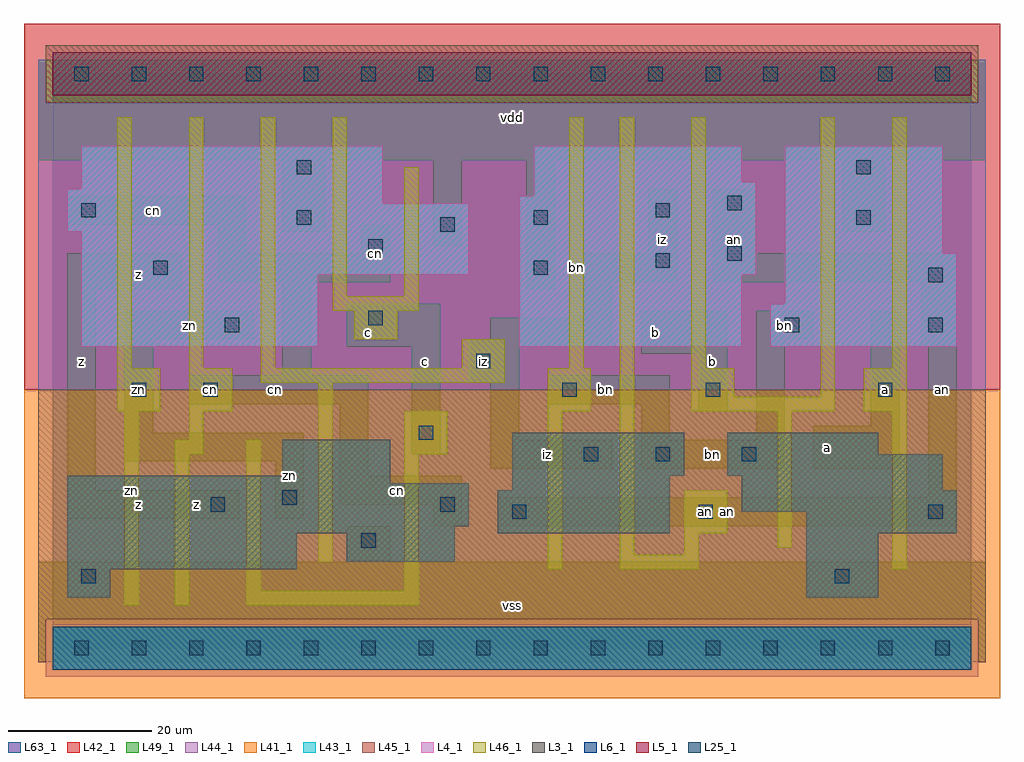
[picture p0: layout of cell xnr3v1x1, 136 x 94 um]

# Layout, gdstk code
import gdstk
lib = gdstk.Library(unit=1e-6, precision=1e-09)
def R(c, l, rs):  # rectangles x0, y0, x1, y1
    for r in rs: c.add(gdstk.rectangle(r[:2], r[2:], *l))
def A(c, l, x, y, w, h, nx, ny, dx, dy):  # array of equal rectangles
    R(c, l, [(x+i*dx, y+j*dy, x+i*dx+w, y+j*dy+h) for i in range(nx) for j in range(ny)])
L3_1 = (3, 1)
L4_1 = (4, 1)
L5_1 = (5, 1)
L6_1 = (6, 1)
L25_1 = (25, 1)
L41_1 = (41, 1)
L42_1 = (42, 1)
L43_1 = (43, 1)
L44_1 = (44, 1)
L45_1 = (45, 1)
L46_1 = (46, 1)
L49_1 = (49, 1)
L63_1 = (63, 1)

xnr3v1x1 = lib.new_cell('xnr3v1x1')
R(xnr3v1x1, L3_1, [(2,7,8,11), (105,7,115,16), (2,11,34,16), (41,12,56,16), (2,16,56,17), (62,16,86,22), (105,16,126,19), (2,17,58,23), (96,19,126,22), (64,22,86,24), (96,22,124,24), (2,23,47,24), (32,24,47,29), (64,24,88,30), (94,24,124,27), (94,27,115,30)])
R(xnr3v1x1, L4_1, [(4,42,37,52), (65,42,96,52), (100,42,126,48), (102,48,126,55), (4,52,58,58), (65,52,98,63), (102,55,124,70), (2,58,58,62), (2,62,46,64), (67,63,98,65), (4,64,46,70), (67,65,96,70)])
R(xnr3v1x1, L5_1, [(0,77,128,83)])
R(xnr3v1x1, L6_1, [(0,-3,128,3), (0,-3,128,3)])
A(xnr3v1x1, L25_1, 3, -1, 2, 2, 16, 2, 8, 80)
R(xnr3v1x1, L25_1, [(4,9,6,11), (109,9,111,11), (43,14,45,16), (64,18,66,20), (90,18,92,20), (122,18,124,20), (22,19,24,21), (54,19,56,21), (32,20,34,22), (74,26,76,28), (84,26,86,28), (96,26,98,28), (51,29,53,31), (11,35,13,37), (21,35,23,37), (71,35,73,37), (91,35,93,37), (115,35,117,37), (59,39,61,41), (24,44,26,46), (102,44,104,46), (122,44,124,46), (44,45,46,47), (122,51,124,53), (14,52,16,54), (67,52,69,54), (84,53,86,55), (94,54,96,56), (44,55,46,57), (54,58,56,60), (34,59,36,61), (67,59,69,61), (112,59,114,61), (4,60,6,62), (84,60,86,62), (94,61,96,63), (34,66,36,68), (112,66,114,68)])
R(xnr3v1x1, L41_1, [(-4,-7,132,36)])
R(xnr3v1x1, L42_1, [(-4,36,132,87)])
R(xnr3v1x1, L43_1, [(0,-3,128,3), (2,7,8,11), (105,7,115,16), (2,11,34,16), (41,12,56,16), (2,16,56,17), (62,16,86,22), (105,16,126,19), (2,17,58,23), (96,19,126,22), (64,22,86,24), (96,22,124,24), (2,23,47,24), (32,24,47,29), (64,24,88,30), (94,24,124,27), (94,27,115,30), (4,42,37,52), (65,42,96,52), (100,42,126,48), (102,48,126,55), (4,52,58,58), (65,52,98,63), (102,55,124,70), (2,58,58,62), (2,62,46,64), (67,63,98,65), (4,64,46,70), (67,65,96,70), (0,77,128,83)])
R(xnr3v1x1, L44_1, [(-1,-4,129,4), (-2,36,130,76), (-2,76,-1,82), (129,76,130,82)])
R(xnr3v1x1, L45_1, [(-2,-2,-1,4), (129,-2,130,4), (-2,4,130,36), (-1,76,129,84)])
A(xnr3v1x1, L46_1, 9, 39, 2, 35, 3, 1, 10, 0)
R(xnr3v1x1, L46_1, [(10,6,12,33), (17,6,19,27), (27,6,51,8), (27,8,29,29), (49,8,51,27), (69,11,71,33), (79,11,90,13), (117,11,119,33), (37,12,39,37), (79,13,81,74), (88,13,90,16), (101,14,103,33), (88,16,94,22), (17,27,21,29), (49,27,55,33), (19,29,21,33), (9,33,15,39), (19,33,25,39), (69,33,75,39), (89,33,109,35), (113,33,119,39), (89,35,95,39), (107,35,109,74), (29,37,63,39), (57,39,63,43), (72,39,74,74), (89,39,91,74), (117,39,119,74), (42,43,48,47), (39,47,51,49), (39,49,41,74), (49,49,51,67)])
R(xnr3v1x1, L49_1, [(-2,-2,130,12), (41,12,47,17), (53,17,57,20), (62,17,126,21), (2,18,26,22), (31,18,35,26), (40,20,57,24), (122,21,126,42), (2,22,6,50), (40,24,44,34), (61,25,78,29), (82,25,102,29), (106,25,118,31), (10,26,35,30), (50,27,54,42), (61,29,65,37), (82,29,86,34), (98,29,102,43), (10,30,14,43), (114,31,118,47), (90,33,94,41), (19,34,44,38), (69,34,86,38), (58,37,65,42), (32,38,36,51), (82,41,94,47), (41,42,54,48), (58,42,78,43), (121,42,126,51), (10,43,28,47), (61,43,78,46), (98,43,106,47), (74,46,78,51), (2,50,18,55), (66,50,70,68), (23,51,47,55), (74,51,87,55), (92,51,126,55), (23,55,27,59), (43,55,47,59), (83,55,87,64), (92,55,98,64), (53,56,57,68), (32,58,38,68), (110,58,116,68), (2,59,27,63), (-2,68,130,82)])
R(xnr3v1x1, L63_1, [(0,0,128,80)])
xnr3v1x1.add(gdstk.Label('zn', (11,22), layer=46, texttype=1))
xnr3v1x1.add(gdstk.Label('cn', (22,36), layer=49, texttype=1))
xnr3v1x1.add(gdstk.Label('iz', (60,40), layer=49, texttype=1))
xnr3v1x1.add(gdstk.Label('bn', (73,53), layer=46, texttype=1))
xnr3v1x1.add(gdstk.Label('an', (91,19), layer=49, texttype=1))
xnr3v1x1.add(gdstk.Label('z', (20,20), layer=49, texttype=1))
xnr3v1x1.add(gdstk.Label('z', (12,20), layer=49, texttype=1))
xnr3v1x1.add(gdstk.Label('zn', (12,36), layer=49, texttype=1))
xnr3v1x1.add(gdstk.Label('z', (4,40), layer=49, texttype=1))
xnr3v1x1.add(gdstk.Label('z', (12,52), layer=49, texttype=1))
xnr3v1x1.add(gdstk.Label('zn', (33,24), layer=49, texttype=1))
xnr3v1x1.add(gdstk.Label('zn', (19,45), layer=49, texttype=1))
xnr3v1x1.add(gdstk.Label('cn', (31,36), layer=49, texttype=1))
xnr3v1x1.add(gdstk.Label('c', (44,44), layer=49, texttype=1))
xnr3v1x1.add(gdstk.Label('cn', (14,61), layer=49, texttype=1))
xnr3v1x1.add(gdstk.Label('cn', (45,55), layer=49, texttype=1))
xnr3v1x1.add(gdstk.Label('vss', (64,6), layer=49, texttype=1))
xnr3v1x1.add(gdstk.Label('cn', (48,22), layer=49, texttype=1))
xnr3v1x1.add(gdstk.Label('c', (52,40), layer=49, texttype=1))
xnr3v1x1.add(gdstk.Label('iz', (61,40), layer=49, texttype=1))
xnr3v1x1.add(gdstk.Label('vdd', (64,74), layer=49, texttype=1))
xnr3v1x1.add(gdstk.Label('iz', (69,27), layer=49, texttype=1))
xnr3v1x1.add(gdstk.Label('bn', (92,27), layer=49, texttype=1))
xnr3v1x1.add(gdstk.Label('bn', (77,36), layer=49, texttype=1))
xnr3v1x1.add(gdstk.Label('b', (92,40), layer=49, texttype=1))
xnr3v1x1.add(gdstk.Label('b', (84,44), layer=49, texttype=1))
xnr3v1x1.add(gdstk.Label('iz', (85,57), layer=49, texttype=1))
xnr3v1x1.add(gdstk.Label('an', (95,57), layer=49, texttype=1))
xnr3v1x1.add(gdstk.Label('an', (94,19), layer=49, texttype=1))
xnr3v1x1.add(gdstk.Label('a', (108,28), layer=49, texttype=1))
xnr3v1x1.add(gdstk.Label('bn', (102,45), layer=49, texttype=1))
xnr3v1x1.add(gdstk.Label('a', (116,36), layer=49, texttype=1))
xnr3v1x1.add(gdstk.Label('an', (124,36), layer=49, texttype=1))

lib.write_gds('xnr3v1x1.gds')
